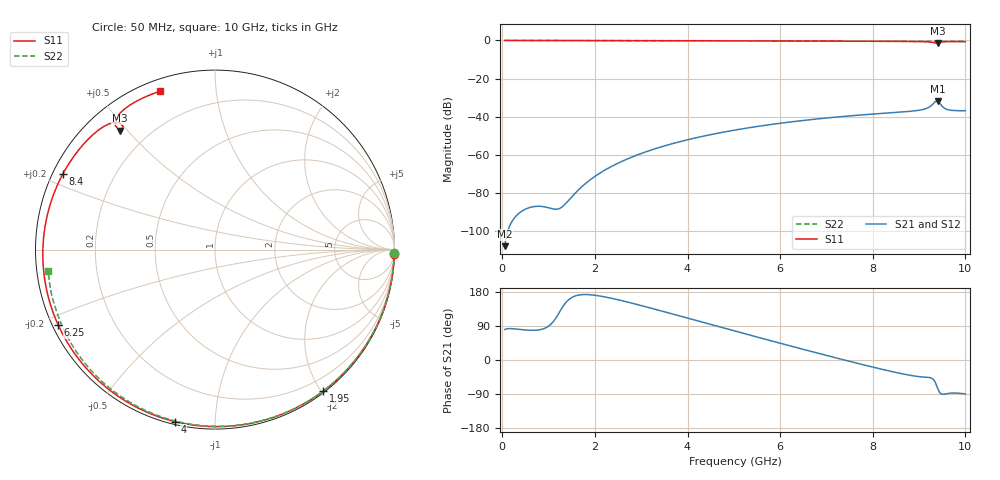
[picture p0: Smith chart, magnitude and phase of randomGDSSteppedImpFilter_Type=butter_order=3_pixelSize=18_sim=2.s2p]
! freq	dB(S11)	phase(S11)	dB(S12)	phase(S12)
!  dB(S21)	phase(S21)	dB(S22)	phase(S22)
!S-par simulation data
#  GHz  S  DB  R 50
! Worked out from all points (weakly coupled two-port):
!   200 points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, 50 MHz to 10 GHz, reference 50 ohm
!   highest |S21| = -31.71 dB at 9.4 GHz (marker M1); lowest = -107.8 dB at 50 MHz (marker M2)
!   lowest |S11| = -1.4 dB at 9.4 GHz (marker M3), VSWR 12.23, Z = 5.03 + j23.9 ohm
!   |S11| at or under -10 dB: nowhere
!   |S22| runs from -0.6 to 0.0 dB; largest |S21 - S12| = 0
!   S11 on the Smith chart (normalised r, x): 50 MHz: 1, -85; 1.95 GHz: 0.02, -2.02; 4 GHz: 0.01, -0.79; 6.25 GHz: 0.02, -0.23; 8.4 GHz: 0.03, +0.23; 10 GHz: 0.05, +0.71
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0.05  -0.00 -1.3  -107.77 80.4  -107.77 80.4  -0.00 -1.0
0.75  -0.03 -20.6  -86.89 78.9  -86.89 78.9  -0.02 -14.8
1.55  -0.05 -42.2  -80.63 167.9  -80.63 167.9  -0.04 -30.3
1.75  -0.06 -47.5  -75.92 172.6  -75.92 172.6  -0.04 -34.1
1.95  -0.07 -52.7  -72.07 171.6  -72.07 171.6  -0.05 -37.9
2.25  -0.08 -60.4  -67.44 165.6  -67.44 165.6  -0.06 -43.5
2.6  -0.09 -69.3  -63.16 156.0  -63.16 156.0  -0.06 -50.0
3.4  -0.12 -88.9  -55.98 130.6  -55.98 130.6  -0.09 -64.5
4  -0.14 -103.1  -52.03 110.6  -52.03 110.6  -0.10 -75.1
5.05  -0.19 -127.3  -46.83 75.5  -46.83 75.5  -0.14 -92.9
6.25  -0.27 -154.4  -42.62 36.1  -42.62 36.1  -0.21 -112.4
6.7  -0.31 -164.7  -41.38 21.6  -41.38 21.6  -0.23 -119.6
7.55  -0.38 175.1  -39.42 -5.1  -39.42 -5.1  -0.30 -133.0
8.35  -0.47 154.9  -37.96 -28.8  -37.96 -28.8  -0.37 -145.7
8.4  -0.48 153.6  -37.87 -30.2  -37.87 -30.2  -0.38 -146.5
9.1  -0.65 133.6  -36.08 -45.1  -36.08 -45.1  -0.46 -157.8
9.2  -0.75 130.3  -35.19 -45.9  -35.19 -45.9  -0.47 -159.4
9.3  -1.06 127.0  -33.31 -50.0  -33.31 -50.0  -0.49 -161.0
9.4  -1.42 128.6  -31.71 -74.7  -31.71 -74.7  -0.49 -162.6
9.5  -0.78 127.0  -34.57 -90.4  -34.57 -90.4  -0.50 -164.3
9.6  -0.62 122.8  -36.12 -88.7  -36.12 -88.7  -0.51 -166.0
10  -0.59 109.3  -36.81 -89.6  -36.81 -89.6  -0.57 -172.8
